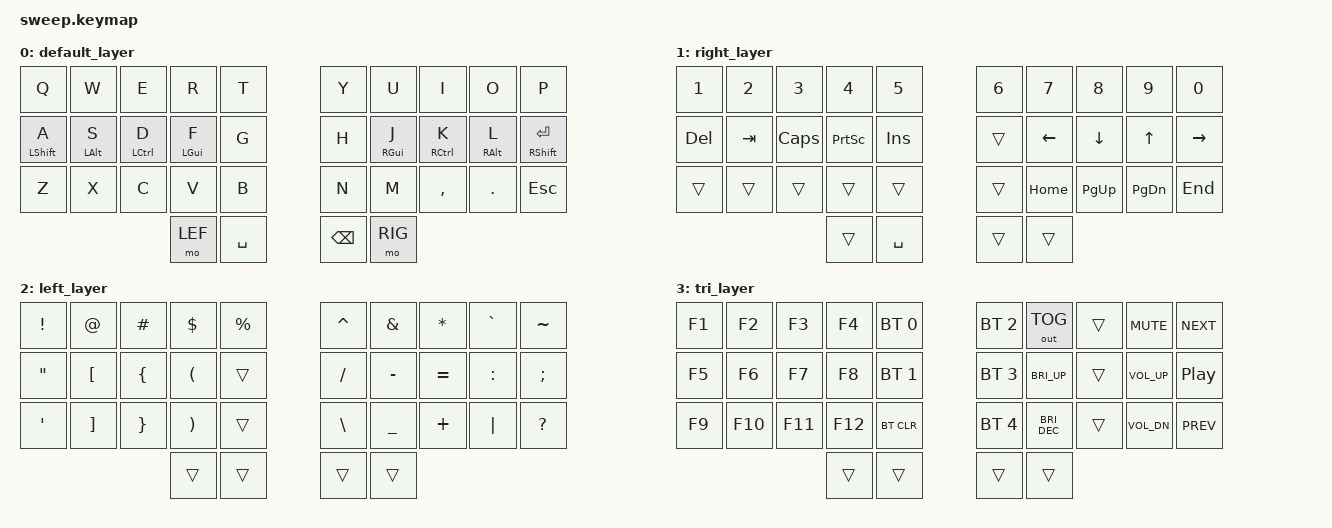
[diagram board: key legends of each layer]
// Copyright (c) 2022 The ZMK Contributors
// SPDX-License-Identifier: MIT

#include <behaviors.dtsi>
#include <dt-bindings/zmk/bt.h>
#include <dt-bindings/zmk/keys.h>
#include <dt-bindings/zmk/outputs.h>

#define DEF 0
#define RIG 1
#define LEF 2
#define TRI 3

/ {
    behaviors {
        ht: hold_tap {
            compatible = "zmk,behavior-hold-tap";
            #binding-cells = <2>;
            flavor = "tap-preferred";
            tapping-term-ms = <220>;
            quick-tap-ms = <150>;
            require-prior-idle-ms = <100>;
            bindings = <&kp>, <&kp>;
        };
    };

    conditional_layers {
        compatible = "zmk,conditional-layers";

        tri_layer {
            if-layers = <LEF RIG>;
            then-layer = <TRI>;
        };
    };

    keymap {
        compatible = "zmk,keymap";

        default_layer {
            bindings = <
&kp Q             &kp W       &kp E        &kp R       &kp T        &kp Y           &kp U            &kp I        &kp O       &kp P
&ht LEFT_SHIFT A  &ht LALT S  &ht LCTRL D  &ht LGUI F  &kp G        &kp H           &ht RGUI J       &ht RCTRL K  &ht RALT L  &ht RIGHT_SHIFT ENTER
&kp Z             &kp X       &kp C        &kp V       &kp B        &kp N           &kp M            &kp COMMA    &kp DOT     &kp ESC
                                           &mo LEF     &kp SPACE    &kp BACKSPACE   &mo RIG
            >;
        };

        right_layer {
            bindings = <
&kp N1   &kp N2    &kp N3     &kp N4     &kp N5       &kp N6  &kp N7    &kp N8     &kp N9         &kp N0
&kp DEL  &kp TAB   &kp CAPS   &kp PSCRN  &kp INS      &trans  &kp LEFT  &kp DOWN   &kp UP_ARROW   &kp RIGHT
&trans   &trans    &trans     &trans     &trans       &trans  &kp HOME  &kp PG_UP  &kp PAGE_DOWN  &kp END
                              &trans     &kp SPACE    &trans  &trans
            >;
        };

        left_layer {
            bindings = <
&kp EXCL  &kp AT    &kp HASH  &kp DLLR  &kp PRCNT    &kp CARET  &kp AMPS   &kp ASTRK  &kp GRAVE  &kp TILDE
&kp DQT   &kp LBKT  &kp LBRC  &kp LPAR  &trans       &kp FSLH   &kp MINUS  &kp EQUAL  &kp COLON  &kp SEMI
&kp SQT   &kp RBKT  &kp RBRC  &kp RPAR  &trans       &kp BSLH   &kp UNDER  &kp PLUS   &kp PIPE   &kp QMARK
                              &trans    &trans       &trans     &trans
            >;
        };

        tri_layer {
            bindings = <
&kp F1  &kp F2   &kp F3   &kp F4   &bt BT_SEL 0    &bt BT_SEL 2  &out OUT_TOG   &trans  &kp C_MUTE    &kp C_NEXT
&kp F5  &kp F6   &kp F7   &kp F8   &bt BT_SEL 1    &bt BT_SEL 3  &kp C_BRI_UP   &trans  &kp C_VOL_UP  &kp C_PP
&kp F9  &kp F10  &kp F11  &kp F12  &bt BT_CLR      &bt BT_SEL 4  &kp C_BRI_DEC  &trans  &kp C_VOL_DN  &kp C_PREV
                          &trans   &trans          &trans        &trans
            >;
        };
    };
};
